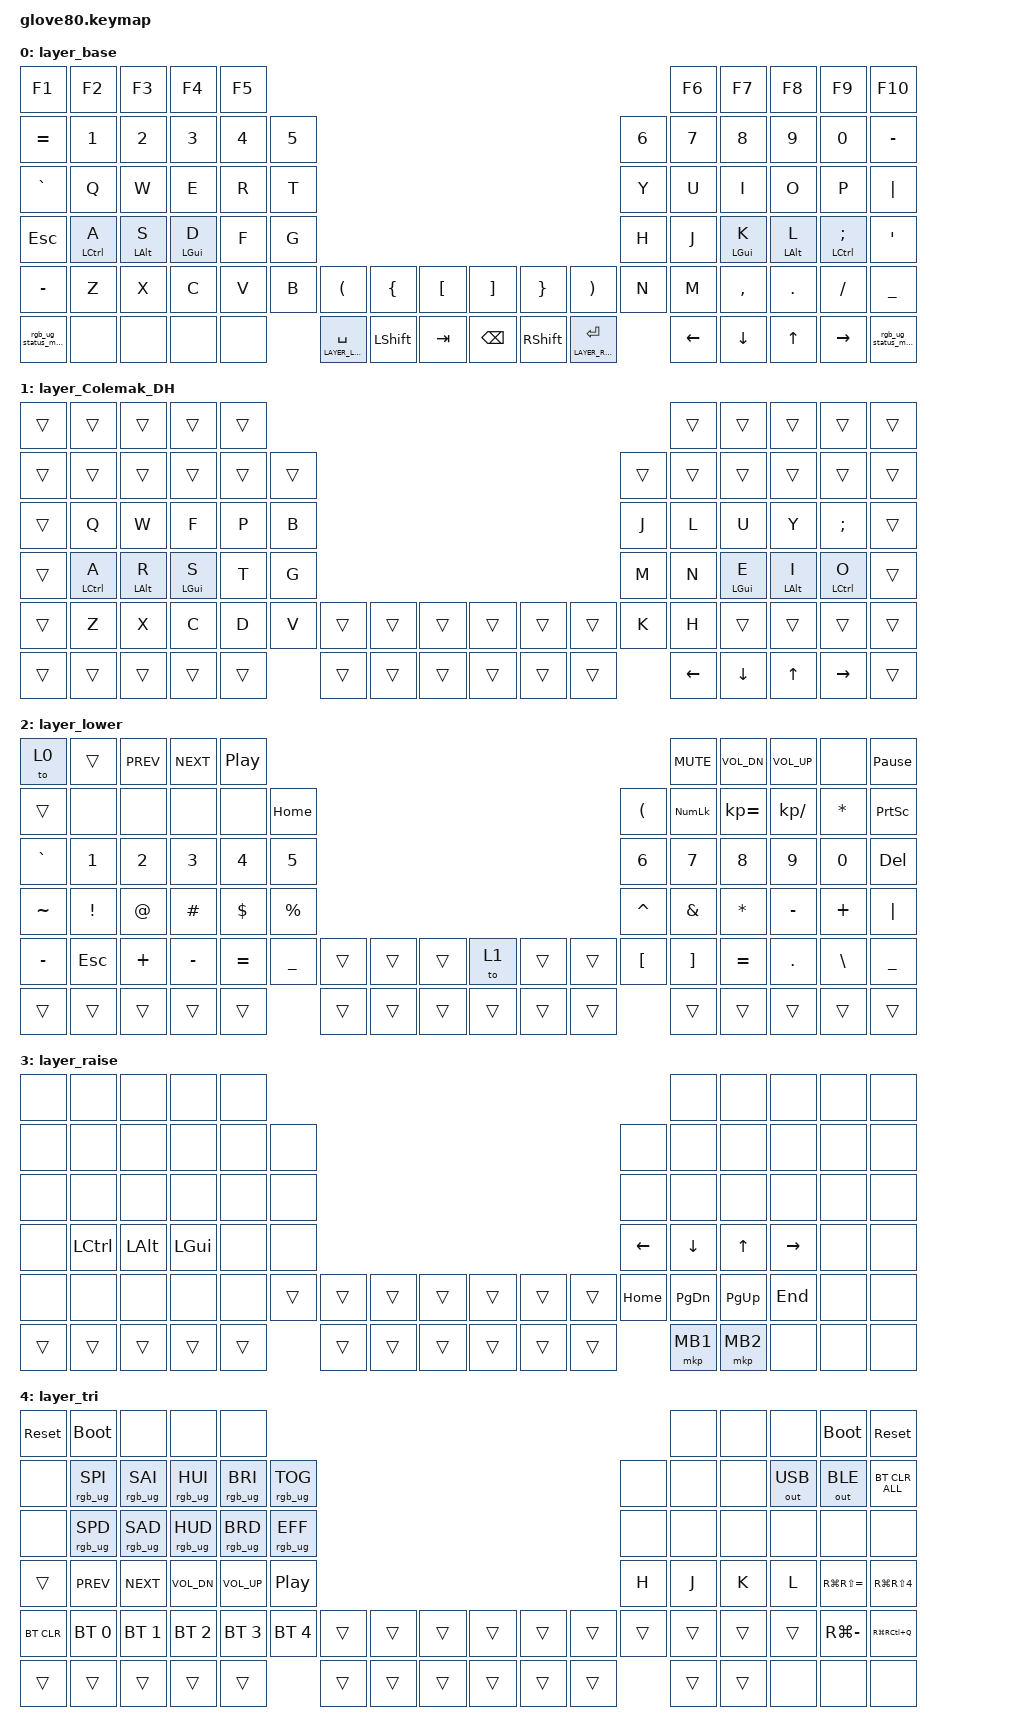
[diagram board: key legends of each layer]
/*
 * Copyright (c) 2020 The ZMK Contributors
 *
 * SPDX-License-Identifier: MIT
 */

#include <behaviors.dtsi>
#include <dt-bindings/zmk/keys.h>
#include <dt-bindings/zmk/bt.h>
#include <dt-bindings/zmk/ext_power.h>
#include <dt-bindings/zmk/outputs.h>
#include <dt-bindings/zmk/rgb.h>
#include <dt-bindings/zmk/mouse.h>

#define HYPER LC(LS(LG(LALT)))

// layers
#define LAYER_DEFAULT       0
#define LAYER_COLEMAK_DH    1
#define LAYER_LOWER         2
#define LAYER_RAISE         3
#define LAYER_TRI           4

/* #define for key positions */

#define POS_LH_T1 52
#define POS_LH_T2 53
#define POS_LH_T3 54
#define POS_LH_T4 69
#define POS_LH_T5 70
#define POS_LH_T6 71
#define POS_LH_C1R2 15
#define POS_LH_C1R3 27
#define POS_LH_C1R4 39
#define POS_LH_C1R5 51
#define POS_LH_C2R1 4
#define POS_LH_C2R2 14
#define POS_LH_C2R3 26
#define POS_LH_C2R4 38
#define POS_LH_C2R5 50
#define POS_LH_C2R6 68
#define POS_LH_C3R1 3
#define POS_LH_C3R2 13
#define POS_LH_C3R3 25
#define POS_LH_C3R4 37
#define POS_LH_C3R5 49
#define POS_LH_C3R6 67
#define POS_LH_C4R1 2
#define POS_LH_C4R2 12
#define POS_LH_C4R3 24
#define POS_LH_C4R4 36
#define POS_LH_C4R5 48
#define POS_LH_C4R6 66
#define POS_LH_C5R1 1
#define POS_LH_C5R2 11
#define POS_LH_C5R3 23
#define POS_LH_C5R4 35
#define POS_LH_C5R5 47
#define POS_LH_C5R6 65
#define POS_LH_C6R1 0
#define POS_LH_C6R2 10
#define POS_LH_C6R3 22
#define POS_LH_C6R4 34
#define POS_LH_C6R5 46
#define POS_LH_C6R6 64
#define POS_RH_T1 57
#define POS_RH_T2 56
#define POS_RH_T3 55
#define POS_RH_T4 74
#define POS_RH_T5 73
#define POS_RH_T6 72
#define POS_RH_C1R2 16
#define POS_RH_C1R3 28
#define POS_RH_C1R4 40
#define POS_RH_C1R5 58
#define POS_RH_C2R1 5
#define POS_RH_C2R2 17
#define POS_RH_C2R3 29
#define POS_RH_C2R4 41
#define POS_RH_C2R5 59
#define POS_RH_C2R6 75
#define POS_RH_C3R1 6
#define POS_RH_C3R2 18
#define POS_RH_C3R3 30
#define POS_RH_C3R4 42
#define POS_RH_C3R5 60
#define POS_RH_C3R6 76
#define POS_RH_C4R1 7
#define POS_RH_C4R2 19
#define POS_RH_C4R3 31
#define POS_RH_C4R4 43
#define POS_RH_C4R5 61
#define POS_RH_C4R6 77
#define POS_RH_C5R1 8
#define POS_RH_C5R2 20
#define POS_RH_C5R3 32
#define POS_RH_C5R4 44
#define POS_RH_C5R5 62
#define POS_RH_C5R6 78
#define POS_RH_C6R1 9
#define POS_RH_C6R2 21
#define POS_RH_C6R3 33
#define POS_RH_C6R4 45
#define POS_RH_C6R5 63
#define POS_RH_C6R6 79

#define KEYS_LEFT POS_LH_C1R2 POS_LH_C1R3 POS_LH_C1R4 POS_LH_C1R5 POS_LH_C2R1 POS_LH_C2R2 POS_LH_C2R3 POS_LH_C2R4 POS_LH_C2R5 POS_LH_C2R6 POS_LH_C3R1 POS_LH_C3R2 POS_LH_C3R3 POS_LH_C3R4 POS_LH_C3R5 POS_LH_C3R6 POS_LH_C4R1 POS_LH_C4R2 POS_LH_C4R3 POS_LH_C4R4 POS_LH_C4R5 POS_LH_C4R6 POS_LH_C5R1 POS_LH_C5R2 POS_LH_C5R3 POS_LH_C5R4 POS_LH_C5R5 POS_LH_C5R6 POS_LH_C6R1 POS_LH_C6R2 POS_LH_C6R3 POS_LH_C6R4 POS_LH_C6R5 POS_LH_C6R6
#define KEYS_RIGHT POS_RH_C1R2 POS_RH_C1R3 POS_RH_C1R4 POS_RH_C1R5 POS_RH_C2R1 POS_RH_C2R2 POS_RH_C2R3 POS_RH_C2R4 POS_RH_C2R5 POS_RH_C2R6 POS_RH_C3R1 POS_RH_C3R2 POS_RH_C3R3 POS_RH_C3R4 POS_RH_C3R5 POS_RH_C3R6 POS_RH_C4R1 POS_RH_C4R2 POS_RH_C4R3 POS_RH_C4R4 POS_RH_C4R5 POS_RH_C4R6 POS_RH_C5R1 POS_RH_C5R2 POS_RH_C5R3 POS_RH_C5R4 POS_RH_C5R5 POS_RH_C5R6 POS_RH_C6R1 POS_RH_C6R2 POS_RH_C6R3 POS_RH_C6R4 POS_RH_C6R5 POS_RH_C6R6
#define THUMBS POS_RH_T1 POS_RH_T2 POS_RH_T3 POS_RH_T4 POS_RH_T5 POS_RH_T6 POS_LH_T1 POS_LH_T2 POS_LH_T3 POS_LH_T4 POS_LH_T5 POS_LH_T6


#define TAP_TERM_MS             180
#define QUICK_TAP_MS            140
#define REQUIRE_PRIOR_IDLE_MS   140

/ {
    behaviors {
        // For the "layer" key, it'd nice to be able to use it as either a shift or a toggle.
        // Configure it as a tap dance, so the first tap (or hold) is a &mo and the second tap is a &to

        hml: hold_tap_left {
            compatible = "zmk,behavior-hold-tap";
            label = "HRM_HOLD_TAP_LEFT";
            flavor = "balanced";
            tapping-term-ms = <TAP_TERM_MS>;
            quick-tap-ms = <QUICK_TAP_MS>;
            require-prior-idle-ms = <REQUIRE_PRIOR_IDLE_MS>;
            #binding-cells = <2>;
            bindings = <&kp>, <&kp>;

            hold-trigger-key-positions = <KEYS_RIGHT THUMBS>;
            hold-trigger-on-release;
        };

        hmr: hold_tap_right {
            compatible = "zmk,behavior-hold-tap";
            label = "HRM_HOLD_TAP_RIGHT";
            flavor = "balanced";
            tapping-term-ms = <TAP_TERM_MS>;
            quick-tap-ms = <QUICK_TAP_MS>;
            require-prior-idle-ms = <REQUIRE_PRIOR_IDLE_MS>;
            #binding-cells = <2>;
            bindings = <&kp>, <&kp>;

            hold-trigger-key-positions = <KEYS_LEFT THUMBS>;
            hold-trigger-on-release;
        };

        qt: quick_tap {
            compatible = "zmk,behavior-hold-tap";
            label = "QUICK_TAP";
            flavor = "balanced";
            tapping-term-ms = <200>;
            quick-tap-ms = <175>;
            require-prior-idle-ms = <150>;
            #binding-cells = <2>;
            bindings = <&kp>, <&kp>;

            hold-trigger-on-release;
        };    



    };

    conditional_layers {
        compatible = "zmk,conditional-layers";
        tri_layer {
            if-layers = <LAYER_LOWER LAYER_RAISE>;
            then-layer = <LAYER_TRI>;
        };
    };

    macros {
        rgb_ug_status_macro: rgb_ug_status_macro_0 {
            label = "RGB_UG_STATUS";
            compatible = "zmk,behavior-macro";
            #binding-cells = <0>;
            bindings
                = <&rgb_ug RGB_STATUS>;
        };

        bt_0: bt_profile_macro_0 {
            label = "BT_0";
            compatible = "zmk,behavior-macro";
            #binding-cells = <0>;
            bindings
                = <&out OUT_BLE>,
                  <&bt BT_SEL 0>;
        };

        bt_1: bt_profile_macro_1 {
            label = "BT_1";
            compatible = "zmk,behavior-macro";
            #binding-cells = <0>;
            bindings
                = <&out OUT_BLE>,
                  <&bt BT_SEL 1>;
        };

        bt_2: bt_profile_macro_2 {
            label = "BT_2";
            compatible = "zmk,behavior-macro";
            #binding-cells = <0>;
            bindings
                = <&out OUT_BLE>,
                  <&bt BT_SEL 2>;
        };

        bt_3: bt_profile_macro_3 {
            label = "BT_3";
            compatible = "zmk,behavior-macro";
            #binding-cells = <0>;
            bindings
                = <&out OUT_BLE>,
                  <&bt BT_SEL 3>;
        };
    };

    // QWERTY Custom defiinitions
    #define _QHOME_A_        &qt LCTRL A
    #define _QHOME_S_        &hml LALT S
    #define _QHOME_D_        &hml LGUI D
    #define _QHOME_K_        &hmr LGUI K
    #define _QHOME_L_        &hmr LALT L
    #define _QHOME_SEMI_     &qt LCTRL SEMI


    // Colemak DH definitions
    #define _CHOME_A_        &qt LCTRL A
    #define _CHOME_R_        &hml LALT R
    #define _CHOME_S_        &hml LGUI S
    #define _CHOME_E_        &hmr LGUI E
    #define _CHOME_I_        &hmr LALT I
    #define _CHOME_O_        &qt LCTRL O


    #define _LSHFT_LPAR_    &hml LSHFT LPAR
    #define _RSHFT_RPAR_    &hmr RSHFT RPAR
    #define _LALT_LBRC_     &hml LALT LBRC
    #define _RALT_RBRC_     &hmr RALT RBRC
    #define _LGUI_LBKT_     &hmr LGUI LBKT
    #define _RGUI_RBKT_     &hmr RGUI RBKT


    #define _LAYER_LOWER_   &lt LAYER_LOWER SPACE
    #define _LAYER_RAISE_   &lt LAYER_RAISE ENTER

    #define _MAC_LOCK_      &kp RG(RC(Q))
    #define _SCRN_CAP_      &kp RG(RS(N4))
    #define _ZOOM_IN_       &kp RG(RS(EQUAL))
    #define _ZOOM_OUT_      &kp RG(MINUS)

    #define _LED_SP_INC_    &rgb_ug RGB_SPI
    #define _LED_SP_DEC_    &rgb_ug RGB_SPD
    #define _LED_SA_INC_    &rgb_ug RGB_SAI
    #define _LED_SA_DEC_    &rgb_ug RGB_SAD
    #define _LED_HU_INC_    &rgb_ug RGB_HUI
    #define _LED_HU_DEC_    &rgb_ug RGB_HUD
    #define _LED_BR_INC_    &rgb_ug RGB_BRI
    #define _LED_BR_DEC_    &rgb_ug RGB_BRD
    #define _LED_TOGGLE_    &rgb_ug RGB_TOG
    #define _LED_CYCLE_     &rgb_ug RGB_EFF

    #define _STATUS_        &rgb_ug_status_macro

    keymap {
        compatible = "zmk,keymap";

        layer_base {
            bindings = <
//╭──────────────┬──────────────┬──────────────┬──────────────┬──────────────┬──────────────╮                                                                                              ╭──────────────┬──────────────┬──────────────┬──────────────┬──────────────┬──────────────╮
    &kp F1         &kp F2         &kp F3         &kp F4         &kp F5                                                                                                                                      &kp F6         &kp F7         &kp F8         &kp F9         &kp F10
//├──────────────┼──────────────┼──────────────┼──────────────┼──────────────┼──────────────┤                                                                                              ├──────────────┼──────────────┼──────────────┼──────────────┼──────────────┼──────────────┤
    &kp EQUAL      &kp N1         &kp N2         &kp N3         &kp N4         &kp N5                                                                                                        &kp N6         &kp N7         &kp N8         &kp N9         &kp N0         &kp MINUS
//├──────────────┼──────────────┼──────────────┼──────────────┼──────────────┼──────────────┤                                                                                              ├──────────────┼──────────────┼──────────────┼──────────────┼──────────────┼──────────────┤
    &kp GRAVE      &kp Q          &kp W          &kp E          &kp R          &kp T                                                                                                         &kp Y          &kp U          &kp I          &kp O          &kp P          &kp PIPE
//├──────────────┼──────────────┼──────────────┼──────────────┼──────────────┼──────────────┤                                                                                              ├──────────────┼──────────────┼──────────────┼──────────────┼──────────────┼──────────────┤
    &kp ESC        _QHOME_A_      _QHOME_S_      _QHOME_D_      &kp F          &kp G                                                                                                         &kp H          &kp J          _QHOME_K_      _QHOME_L_      _QHOME_SEMI_   &kp SQT
//├──────────────┼──────────────┼──────────────┼──────────────┼──────────────┼──────────────┤ ╭──────────────┬──────────────┬──────────────┬┬──────────────┬──────────────┬──────────────╮ ├──────────────┼──────────────┼──────────────┼──────────────┼──────────────┼──────────────┤
    &kp MINUS      &kp Z          &kp X          &kp C          &kp V          &kp B            &kp LPAR       &kp LBRC       &kp LBKT        &kp RBKT       &kp RBRC       &kp RPAR         &kp N          &kp M          &kp COMMA      &kp DOT        &kp FSLH       &kp UNDER
//├──────────────┼──────────────┼──────────────┼──────────────┼──────────────┼──────────────┤ ├──────────────┼──────────────┼──────────────┼┼──────────────┼──────────────┼──────────────┤ ├──────────────┼──────────────┼──────────────┼──────────────┼──────────────┼──────────────┤
    _STATUS_       &none          &none          &none          &none                           _LAYER_LOWER_  &kp LSHFT      &kp TAB         &kp BSPC       &kp RSHFT      _LAYER_RAISE_                   &kp LEFT       &kp DOWN       &kp UP         &kp RIGHT      _STATUS_
//╰──────────────┴──────────────┴──────────────┴──────────────┴──────────────┴──────────────╯ ╰──────────────┴──────────────┴──────────────┴┴──────────────┴──────────────┴──────────────╯ ╰──────────────┴──────────────┴──────────────┴──────────────┴──────────────┴──────────────╯
            >;
        };

        layer_Colemak_DH {
            bindings = <
//╭──────────────┬──────────────┬──────────────┬──────────────┬──────────────┬──────────────╮                                                                                              ╭──────────────┬──────────────┬──────────────┬──────────────┬──────────────┬──────────────╮
    &trans         &trans         &trans         &trans         &trans                                                                                                                                      &trans         &trans         &trans         &trans         &trans
//├──────────────┼──────────────┼──────────────┼──────────────┼──────────────┼──────────────┤                                                                                              ├──────────────┼──────────────┼──────────────┼──────────────┼──────────────┼──────────────┤
    &trans         &trans         &trans         &trans         &trans         &trans                                                                                                        &trans         &trans         &trans         &trans         &trans         &trans
//├──────────────┼──────────────┼──────────────┼──────────────┼──────────────┼──────────────┤                                                                                              ├──────────────┼──────────────┼──────────────┼──────────────┼──────────────┼──────────────┤
    &trans         &kp Q          &kp W          &kp F          &kp P          &kp B                                                                                                         &kp J          &kp L          &kp U          &kp Y          &kp SEMI       &trans
//├──────────────┼──────────────┼──────────────┼──────────────┼──────────────┼──────────────┤                                                                                              ├──────────────┼──────────────┼──────────────┼──────────────┼──────────────┼──────────────┤
    &trans         _CHOME_A_      _CHOME_R_      _CHOME_S_      &kp T          &kp G                                                                                                         &kp M          &kp N          _CHOME_E_      _CHOME_I_      _CHOME_O_      &trans
//├──────────────┼──────────────┼──────────────┼──────────────┼──────────────┼──────────────┤ ╭──────────────┬──────────────┬──────────────┬┬──────────────┬──────────────┬──────────────╮ ├──────────────┼──────────────┼──────────────┼──────────────┼──────────────┼──────────────┤
    &trans         &kp Z          &kp X          &kp C          &kp D          &kp V            &trans         &trans         &trans          &trans         &trans         &trans           &kp K          &kp H          &trans         &trans         &trans         &trans
//├──────────────┼──────────────┼──────────────┼──────────────┼──────────────┼──────────────┤ ├──────────────┼──────────────┼──────────────┼┼──────────────┼──────────────┼──────────────┤ ├──────────────┼──────────────┼──────────────┼──────────────┼──────────────┼──────────────┤
    &trans         &trans         &trans         &trans         &trans                          &trans         &trans         &trans          &trans         &trans         &trans                          &kp LEFT       &kp DOWN       &kp UP         &kp RIGHT      &trans
//╰──────────────┴──────────────┴──────────────┴──────────────┴──────────────┴──────────────╯ ╰──────────────┴──────────────┴──────────────┴┴──────────────┴──────────────┴──────────────╯ ╰──────────────┴──────────────┴──────────────┴──────────────┴──────────────┴──────────────╯
            >;
        };

        layer_lower {
            bindings = <
//╭──────────────┬──────────────┬──────────────┬──────────────┬──────────────┬──────────────╮                                                                                              ╭──────────────┬──────────────┬──────────────┬──────────────┬──────────────┬──────────────╮
    &to 0          &trans         &kp C_PREV     &kp C_NEXT     &kp C_PP                                                                                                                                    &kp C_MUTE     &kp C_VOL_DN   &kp C_VOL_UP   &none          &kp PAUSE_BREAK
//├──────────────┼──────────────┼──────────────┼──────────────┼──────────────┼──────────────┤                                                                                              ├──────────────┼──────────────┼──────────────┼──────────────┼──────────────┼──────────────┤
    &trans         &none          &none          &none          &none          &kp HOME                                                                                                      &kp LPAR       &kp KP_NUM     &kp KP_EQUAL   &kp KP_SLASH   &kp STAR       &kp PRINTSCREEN
//├──────────────┼──────────────┼──────────────┼──────────────┼──────────────┼──────────────┤                                                                                              ├──────────────┼──────────────┼──────────────┼──────────────┼──────────────┼──────────────┤
    &kp GRAVE      &kp N1         &kp N2         &kp N3         &kp N4         &kp N5                                                                                                        &kp N6         &kp N7         &kp N8         &kp N9         &kp N0         &kp DEL
//├──────────────┼──────────────┼──────────────┼──────────────┼──────────────┼──────────────┤                                                                                              ├──────────────┼──────────────┼──────────────┼──────────────┼──────────────┼──────────────┤
    &kp TILDE      &kp EXCL       &kp AT         &kp HASH       &kp DLLR       &kp PRCNT                                                                                                     &kp CARET      &kp AMPS       &kp STAR       &kp MINUS      &kp PLUS       &kp PIPE
//├──────────────┼──────────────┼──────────────┼──────────────┼──────────────┼──────────────┤ ╭──────────────┬──────────────┬──────────────┬┬──────────────┬──────────────┬──────────────╮ ├──────────────┼──────────────┼──────────────┼──────────────┼──────────────┼──────────────┤
    &kp MINUS      &kp ESC        &kp PLUS       &kp MINUS      &kp EQUAL      &kp UNDER        &trans         &trans         &trans          &to 1          &trans         &trans           &kp LBKT       &kp RBKT       &kp EQUAL      &kp DOT        &kp BSLH       &kp UNDER
//├──────────────┼──────────────┼──────────────┼──────────────┼──────────────┼──────────────┤ ├──────────────┼──────────────┼──────────────┼┼──────────────┼──────────────┼──────────────┤ ├──────────────┼──────────────┼──────────────┼──────────────┼──────────────┼──────────────┤
    &trans         &trans         &trans         &trans         &trans                          &trans         &trans         &trans          &trans         &trans         &trans                          &trans         &trans         &trans         &trans         &trans
//╰──────────────┴──────────────┴──────────────┴──────────────┴──────────────┴──────────────╯ ╰──────────────┴──────────────┴──────────────┴┴──────────────┴──────────────┴──────────────╯ ╰──────────────┴──────────────┴──────────────┴──────────────┴──────────────┴──────────────╯
            >;
        };

        layer_raise {
            bindings = <
//╭──────────────┬──────────────┬──────────────┬──────────────┬──────────────┬──────────────╮                                                                                              ╭──────────────┬──────────────┬──────────────┬──────────────┬──────────────┬──────────────╮
    &none          &none          &none          &none          &none                                                                                                                                       &none          &none          &none          &none          &none
//├──────────────┼──────────────┼──────────────┼──────────────┼──────────────┼──────────────┤                                                                                              ├──────────────┼──────────────┼──────────────┼──────────────┼──────────────┼──────────────┤
    &none          &none          &none          &none          &none          &none                                                                                                         &none          &none          &none          &none          &none          &none
//├──────────────┼──────────────┼──────────────┼──────────────┼──────────────┼──────────────┤                                                                                              ├──────────────┼──────────────┼──────────────┼──────────────┼──────────────┼──────────────┤
    &none          &none          &none          &none          &none          &none                                                                                                         &none          &none          &none          &none          &none          &none
//├──────────────┼──────────────┼──────────────┼──────────────┼──────────────┼──────────────┤                                                                                              ├──────────────┼──────────────┼──────────────┼──────────────┼──────────────┼──────────────┤
    &none          &kp LCTRL      &kp LALT       &kp LGUI       &none          &none                                                                                                         &kp LEFT       &kp DOWN       &kp UP         &kp RIGHT      &none          &none
//├──────────────┼──────────────┼──────────────┼──────────────┼──────────────┼──────────────┤ ╭──────────────┬──────────────┬──────────────┬┬──────────────┬──────────────┬──────────────╮ ├──────────────┼──────────────┼──────────────┼──────────────┼──────────────┼──────────────┤
    &none          &none          &none          &none          &none          &trans           &trans         &trans          &trans         &trans         &trans          &trans          &kp HOME       &kp PG_DN      &kp PG_UP      &kp END        &none          &none  
//├──────────────┼──────────────┼──────────────┼──────────────┼──────────────┼──────────────┤ ├──────────────┼──────────────┼──────────────┼┼──────────────┼──────────────┼──────────────┤ ├──────────────┼──────────────┼──────────────┼──────────────┼──────────────┼──────────────┤
    &trans         &trans         &trans         &trans         &trans                          &trans         &trans         &trans          &trans         &trans         &trans                          &mkp MB1       &mkp MB2       &none          &none          &none
//╰──────────────┴──────────────┴──────────────┴──────────────┴──────────────┴──────────────╯ ╰──────────────┴──────────────┴──────────────┴┴──────────────┴──────────────┴──────────────╯ ╰──────────────┴──────────────┴──────────────┴──────────────┴──────────────┴──────────────╯
            >;
        };
        layer_tri {
            bindings = <
//╭──────────────┬──────────────┬──────────────┬──────────────┬──────────────┬──────────────╮                                                                                              ╭──────────────┬──────────────┬──────────────┬──────────────┬──────────────┬──────────────╮
    &sys_reset     &bootloader    &none          &none          &none                                                                                                                                       &none          &none          &none          &bootloader    &sys_reset
//├──────────────┼──────────────┼──────────────┼──────────────┼──────────────┼──────────────┤                                                                                              ├──────────────┼──────────────┼──────────────┼──────────────┼──────────────┼──────────────┤
    &none          _LED_SP_INC_   _LED_SA_INC_   _LED_HU_INC_   _LED_BR_INC_   _LED_TOGGLE_                                                                                                  &none          &none          &none          &out OUT_USB   &out OUT_BLE   &bt BT_CLR_ALL
//├──────────────┼──────────────┼──────────────┼──────────────┼──────────────┼──────────────┤                                                                                              ├──────────────┼──────────────┼──────────────┼──────────────┼──────────────┼──────────────┤
    &none          _LED_SP_DEC_   _LED_SA_DEC_   _LED_HU_DEC_   _LED_BR_DEC_   _LED_CYCLE_                                                                                                   &none          &none          &none          &none          &none          &none 
//├──────────────┼──────────────┼──────────────┼──────────────┼──────────────┼──────────────┤                                                                                              ├──────────────┼──────────────┼──────────────┼──────────────┼──────────────┼──────────────┤
    &trans         &kp C_PREV     &kp C_NEXT     &kp C_VOL_DN   &kp C_VOL_UP   &kp C_PP                                                                                                      &kp H          &kp J          &kp K          &kp L          _ZOOM_IN_      _SCRN_CAP_
//├──────────────┼──────────────┼──────────────┼──────────────┼──────────────┼──────────────┤ ╭──────────────┬──────────────┬──────────────┬┬──────────────┬──────────────┬──────────────╮ ├──────────────┼──────────────┼──────────────┼──────────────┼──────────────┼──────────────┤
    &bt BT_CLR     &bt BT_SEL 0   &bt BT_SEL 1   &bt BT_SEL 2   &bt BT_SEL 3   &bt BT_SEL 4     &trans         &trans         &trans          &trans         &trans         &trans           &trans         &trans         &trans         &trans         _ZOOM_OUT_     _MAC_LOCK_
//├──────────────┼──────────────┼──────────────┼──────────────┼──────────────┼──────────────┤ ├──────────────┼──────────────┼──────────────┼┼──────────────┼──────────────┼──────────────┤ ├──────────────┼──────────────┼──────────────┼──────────────┼──────────────┼──────────────┤
    &trans         &trans         &trans         &trans         &trans                          &trans         &trans         &trans          &trans         &trans         &trans                          &trans         &trans         &none          &none          &none
//╰──────────────┴──────────────┴──────────────┴──────────────┴──────────────┴──────────────╯ ╰──────────────┴──────────────┴──────────────┴┴──────────────┴──────────────┴──────────────╯ ╰──────────────┴──────────────┴──────────────┴──────────────┴──────────────┴──────────────╯
            >;
        };
    };
};
